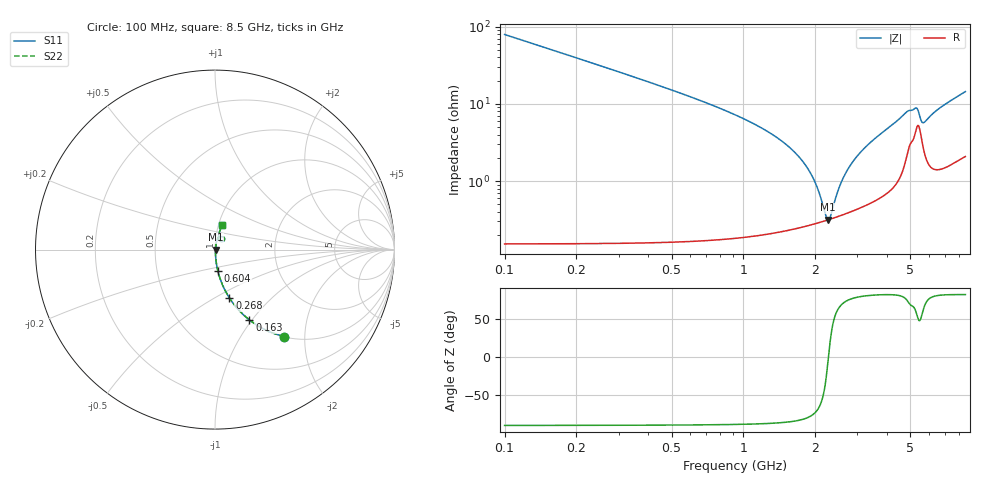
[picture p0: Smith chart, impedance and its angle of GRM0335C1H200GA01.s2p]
!Murata Part Number: GRM0335C1H200GA01
!These Parameters are Measured in Series Mode Connection
!Data Generated on Mar 30, 2021
!  o--ll--o
!Port1  Port2
!  o------o
!Operation Temp=25[degC], DC Bias Voltage=0[V]
!Freq. Start=100[MHz] Stop=9[GHz] 401[Steps]
# Hz S RI R 50
!Freq.(Hz) S11(Real) S11(Imag) S21(Real) S21(Imag) S12(Real) S12(Imag) S22(Real) S22(Imag)
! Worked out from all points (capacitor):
!   401 points, 100 MHz to 8.5 GHz, reference 50 ohm
!   read as one part in series: C = 20 pF near 142 MHz
!   lowest |Z| = 315 mohm at 2.263 GHz (marker M1)
!   series resonance near 2.27 GHz, so ESL is about 250 pH
!   S11 on the Smith chart (normalised r, x): 100 MHz: 1.00, -1.59; 163 MHz: 1.00, -0.97; 268 MHz: 1.00, -0.59; 604 MHz: 1.00, -0.25; 8.5 GHz: 1.04, +0.29
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1e8  0.387 -0.4861  0.613 0.4861  0.613 0.4861  0.387 -0.4861
1.63e8  0.1917 -0.392  0.8083 0.392  0.8083 0.392  0.1917 -0.392
2.68e8  0.0802 -0.269  0.9198 0.269  0.9198 0.269  0.0802 -0.269
6.04e8  0.0164 -0.1204  0.9836 0.1204  0.9836 0.1204  0.0164 -0.1204
1.507e9  0.00314 -0.0297  0.9969 0.0297  0.9969 0.0297  0.00314 -0.0297
1.906e9  0.00283 -0.0125  0.9972 0.0125  0.9972 0.0125  0.00283 -0.0125
2.053e9  0.00291 -0.00716  0.9971 0.00716  0.9971 0.00716  0.00291 -0.00716
2.221e9  0.00308 -0.00156  0.9969 0.00156  0.9969 0.00156  0.00308 -0.00156
2.263e9  0.00313 -0.000229  0.9969 0.000229  0.9969 0.000229  0.00313 -0.000229
2.326e9  0.00322 0.00173  0.9968 -0.00173  0.9968 -0.00173  0.00322 0.00173
2.473e9  0.00347 0.00614  0.9965 -0.00614  0.9965 -0.00614  0.00347 0.00614
2.578e9  0.00367 0.00916  0.9963 -0.00916  0.9963 -0.00916  0.00367 0.00916
2.914e9  0.00448 0.0183  0.9955 -0.0183  0.9955 -0.0183  0.00448 0.0183
3.439e9  0.00623 0.0318  0.9938 -0.0318  0.9938 -0.0318  0.00623 0.0318
4.3e9  0.0116 0.0551  0.9884 -0.0551  0.9884 -0.0551  0.0116 0.0551
4.846e9  0.0269 0.0729  0.9731 -0.0729  0.9731 -0.0729  0.0269 0.0729
5.266e9  0.0476 0.07  0.9524 -0.07  0.9524 -0.07  0.0476 0.07
5.371e9  0.0537 0.0589  0.9463 -0.0589  0.9463 -0.0589  0.0537 0.0589
5.56e9  0.0371 0.0442  0.9629 -0.0442  0.9629 -0.0442  0.0371 0.0442
5.707e9  0.026 0.0497  0.974 -0.0497  0.974 -0.0497  0.026 0.0497
7.114e9  0.0247 0.0974  0.9753 -0.0974  0.9753 -0.0974  0.0247 0.0974
8.5e9  0.0392 0.1345  0.9608 -0.1345  0.9608 -0.1345  0.0392 0.1345
